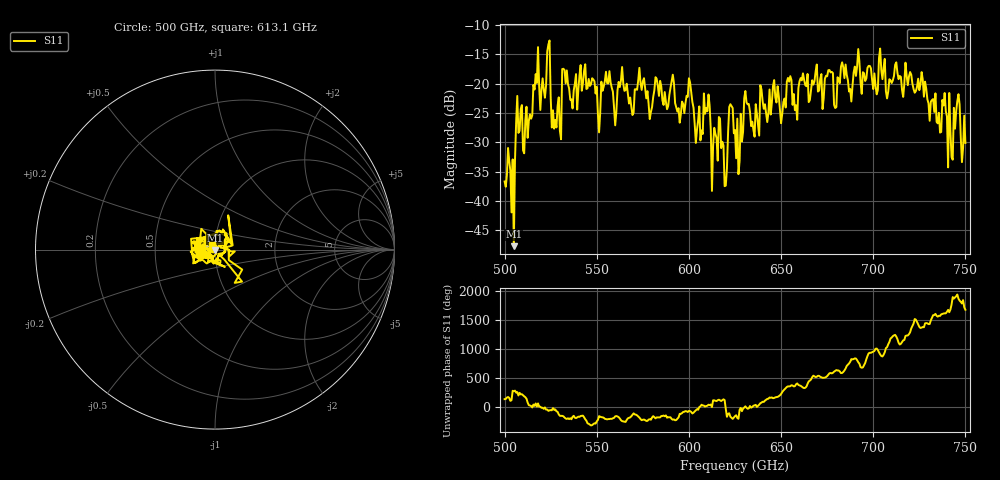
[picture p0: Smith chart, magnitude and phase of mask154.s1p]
!Created with skrf (http://scikit-rf.org).
# GHz S MA R 50.0
!freq magS11 angS11
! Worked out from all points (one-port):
!   401 points, 500 GHz to 750 GHz, reference 50 ohm
!   lowest |S11| = -47.7 dB at 505 GHz (marker M1), VSWR 1.01, Z = 50.1 - j0.406 ohm
!   |S11| at or under -10 dB: start of sweep to end of sweep
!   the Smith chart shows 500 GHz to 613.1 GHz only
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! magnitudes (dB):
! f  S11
! 500 GHz  -36.7
! 505 GHz  -47.7
! 507.5 GHz  -28.4
! 511.2 GHz  -26.3
! 516.9 GHz  -18.4
! 520.6 GHz  -19.1
! 523.8 GHz  -13.3
! 526.9 GHz  -27.7
! 531.2 GHz  -17.5
! 542.5 GHz  -19.9
! 550.6 GHz  -25.2
! 556.2 GHz  -20.0
! 560 GHz  -27.1
! 562.5 GHz  -20.6
! 568.8 GHz  -23.9
! 590.6 GHz  -19.6
! 593.8 GHz  -24.8
! 609.4 GHz  -24.1
! 619.4 GHz  -37.5
! 622.5 GHz  -23.5
! 625 GHz  -27.9
! 628.1 GHz  -25.1
! 631.2 GHz  -23.2
! 656.2 GHz  -23.6
! 687.5 GHz  -20.9
! 691.2 GHz  -17.1
! 718.8 GHz  -20.3
! 750 GHz  -30.1
